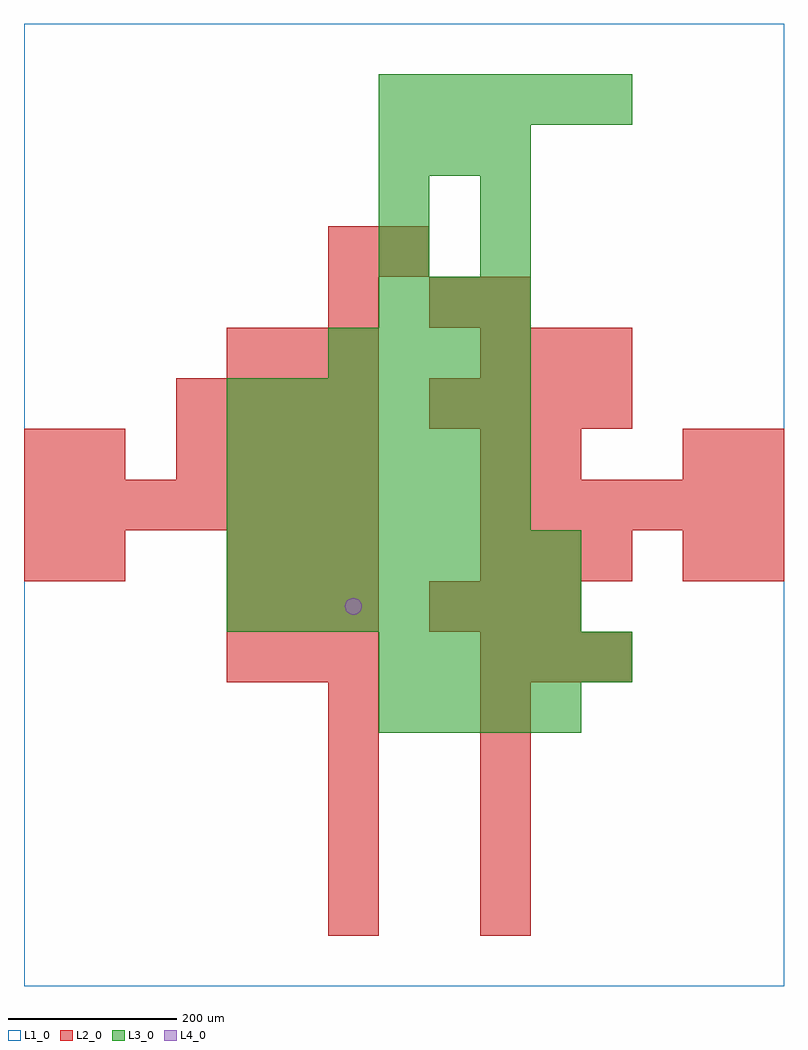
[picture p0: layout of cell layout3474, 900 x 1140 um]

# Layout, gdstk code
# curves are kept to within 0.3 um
import gdstk
lib = gdstk.Library(unit=1e-6, precision=1e-09)
def R(c, l, rs):  # rectangles x0, y0, x1, y1
    for r in rs: c.add(gdstk.rectangle(r[:2], r[2:], *l))
def A(c, l, x, y, w, h, nx, ny, dx, dy):  # array of equal rectangles
    R(c, l, [(x+i*dx, y+j*dy, x+i*dx+w, y+j*dy+h) for i in range(nx) for j in range(ny)])
def P(c, l, *ps):  # polygons
    for p in ps: c.add(gdstk.Polygon(p, *l))
L1_0 = (1, 0)
L2_0 = (2, 0)
L3_0 = (3, 0)
L4_0 = (4, 0)

layout3474 = lib.new_cell('layout3474')
R(layout3474, L1_0, [(0,0,900,1140)])
A(layout3474, L2_0, 360, 60, 60, 60, 1, 5, 0, 60)
A(layout3474, L2_0, 540, 60, 60, 60, 1, 5, 0, 60)
A(layout3474, L2_0, 240, 360, 60, 60, 3, 3, 60, 60)
A(layout3474, L2_0, 540, 360, 60, 60, 3, 2, 60, 120)
A(layout3474, L2_0, 480, 420, 60, 60, 3, 1, 60, 0)
A(layout3474, L2_0, 0, 540, 60, 60, 7, 1, 60, 0)
A(layout3474, L2_0, 540, 540, 60, 60, 6, 1, 60, 0)
A(layout3474, L2_0, 180, 600, 60, 60, 4, 2, 60, 60)
A(layout3474, L2_0, 480, 660, 60, 60, 4, 1, 60, 0)
A(layout3474, L2_0, 240, 720, 60, 60, 3, 1, 60, 0)
A(layout3474, L2_0, 540, 720, 60, 60, 3, 1, 60, 0)
R(layout3474, L2_0, [(0,480,60,540), (60,480,120,540), (780,480,840,540), (840,480,900,540), (0,600,60,660), (60,600,120,660), (540,600,600,660), (600,600,660,660), (780,600,840,660), (840,600,900,660), (360,780,420,840), (480,780,540,840), (540,780,600,840), (360,840,420,900), (420,840,480,900)])
A(layout3474, L3_0, 420, 300, 60, 60, 4, 1, 60, 0)
A(layout3474, L3_0, 420, 360, 60, 60, 5, 2, 60, 660)
A(layout3474, L3_0, 240, 420, 60, 60, 7, 2, 60, 60)
A(layout3474, L3_0, 240, 540, 60, 60, 6, 3, 60, 60)
A(layout3474, L3_0, 360, 720, 60, 60, 4, 1, 60, 0)
A(layout3474, L3_0, 420, 780, 60, 60, 3, 2, 60, 180)
R(layout3474, L3_0, [(420,840,480,900), (540,840,600,900), (420,900,480,960), (540,900,600,960)])
P(layout3474, L4_0, [(400,450),(399.239,453.827),(397.071,457.071),(393.827,459.239),(390,460),(386.173,459.239),(382.929,457.071),(380.761,453.827),(380,450),(380.761,446.173),(382.929,442.929),(386.173,440.761),(390,440),(393.827,440.761),(397.071,442.929),(399.239,446.173)])

lib.write_gds('layout3474.gds')
